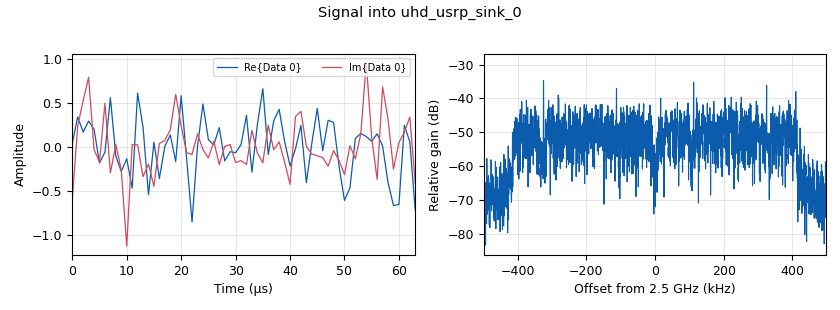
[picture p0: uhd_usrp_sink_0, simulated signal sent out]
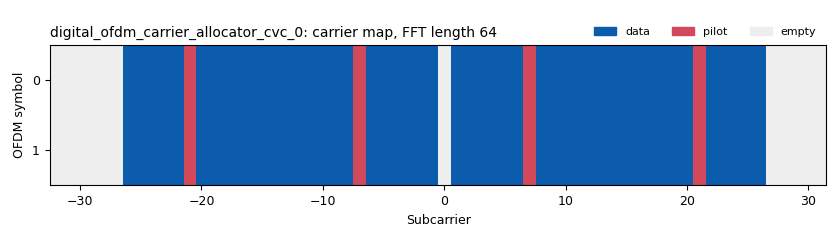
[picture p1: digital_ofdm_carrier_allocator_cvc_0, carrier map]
options:
  parameters:
    author: Cyrille Morin
    generate_options: no_gui
    id: ofdm_tx_example
    output_language: python
    run_options: run
    title: Example OFDM TX
  states: {}

blocks:
- name: byte_amount
  id: variable
  parameters:
    value: frame_amount * len(occupied_carriers[0]) // (8//bps)
  states: {}
- name: byte_sequence
  id: variable
  parameters:
    value: '[np.random.randint(256) for x in range(byte_amount)] if np.random.seed(0) is None else 0'
  states: {}
- name: cp_len
  id: variable
  parameters:
    value: fft_len//4
  states: {}
- name: frame_amount
  id: variable
  parameters:
    value: '20'
  states: {}
- name: header_formatter
  id: variable
  parameters:
    value: digital.packet_header_ofdm(occupied_carriers, n_syms=1, len_tag_key=length_tag_key, frame_len_tag_key=length_tag_key, bits_per_header_sym=header_mod.bits_per_symbol(), bits_per_payload_sym=payload_mod.bits_per_symbol(), scramble_header=True)
  states: {}
- name: header_mod
  id: variable
  parameters:
    value: digital.constellation_qpsk()
  states: {}
- name: length_tag_key
  id: variable
  parameters:
    value: '"frame_len"'
  states: {}
- name: occupied_carriers
  id: variable
  parameters:
    value: (list(range(-26, -21)) + list(range(-20, -7)) + list(range(-6, 0)) + list(range(1, 7)) + list(range(8, 21)) + list(range(22, 27)),)
  states: {}
- name: payload_mod
  id: variable
  parameters:
    value: digital.qam_constellation(constellation_points=2**bps,differential=False,mod_code=digital.utils.mod_codes.GRAY_CODE) if (bps in [2,4,8]) else digital.constellation_bpsk()
  states: {}
- name: pilot_carriers
  id: variable
  parameters:
    value: ((-21, -7, 7, 21,),)
  states: {}
- name: pilot_symbols
  id: variable
  parameters:
    value: ((1, 1, 1, -1,),)
  states: {}
- name: rolloff
  id: variable
  parameters:
    value: '0'
  states: {}
- name: sync_word1
  id: variable
  parameters:
    value: '[0., 0., 0., 0., 0., 0., 0., 1.41421356, 0., -1.41421356, 0., 1.41421356, 0., -1.41421356, 0., -1.41421356, 0., -1.41421356, 0., 1.41421356, 0., -1.41421356, 0., 1.41421356, 0., -1.41421356, 0., -1.41421356, 0., -1.41421356, 0., -1.41421356, 0., 1.41421356, 0., -1.41421356, 0., 1.41421356, 0., 1.41421356, 0., 1.41421356, 0., -1.41421356, 0., 1.41421356, 0., 1.41421356, 0., 1.41421356, 0., -1.41421356, 0., 1.41421356, 0., 1.41421356, 0., 1.41421356, 0., 0., 0., 0., 0., 0.]'
  states: {}
- name: sync_word2
  id: variable
  parameters:
    value: '[0, 0, 0, 0, 0, 0, -1, -1, -1, -1, 1, 1, -1, -1, -1, 1, -1, 1, 1, 1, 1, 1, -1, -1, -1, -1, -1, 1, -1, -1, 1, -1, 0, 1, -1, 1, 1, 1, -1, 1, 1, 1, -1, 1, 1, 1, 1, -1, 1, -1, -1, -1, 1, -1, 1, -1, -1, -1, -1, 0, 0, 0, 0, 0] '
  states: {}
- name: analog_rail_ff_0
  id: analog_rail_ff
  parameters:
    hi: '1'
    lo: '-1'
  states: {state: disabled}
- name: analog_rail_ff_0_0
  id: analog_rail_ff
  parameters:
    hi: '1'
    lo: '-1'
  states: {state: disabled}
- name: blocks_complex_to_float_0
  id: blocks_complex_to_float
  parameters: {}
  states: {state: disabled}
- name: blocks_complex_to_mag_squared_0
  id: blocks_complex_to_mag_squared
  parameters: {}
  states: {state: disabled}
- name: blocks_float_to_complex_0
  id: blocks_float_to_complex
  parameters: {}
  states: {state: disabled}
- name: blocks_message_strobe_0
  id: blocks_message_strobe
  parameters:
    msg: pmt.cons(pmt.make_dict(), pmt.to_pmt(np.array(byte_sequence, dtype=np.uint8)))
    period: int(1000*packet_freq)
  states: {}
- name: blocks_multiply_const_vxx_0
  id: blocks_multiply_const_vxx
  parameters:
    const: '0.06'
    type: complex
  states: {}
- name: blocks_null_source_0
  id: blocks_null_source
  parameters:
    type: complex
  states: {}
- name: blocks_repack_bits_bb_0
  id: blocks_repack_bits_bb
  parameters:
    endianness: gr.GR_LSB_FIRST
    k: '8'
    l: payload_mod.bits_per_symbol()
    len_tag_key: length_tag_key
  states: {}
- name: blocks_stream_to_tagged_stream_0
  id: blocks_stream_to_tagged_stream
  parameters:
    len_tag_key: length_tag_key
    packet_len: fft_len
    type: complex
  states: {}
- name: blocks_sub_xx_0
  id: blocks_sub_xx
  parameters:
    type: complex
  states: {state: disabled}
- name: blocks_tag_debug_0
  id: blocks_tag_debug
  parameters:
    type: complex
  states: {state: disabled}
- name: blocks_tagged_stream_mux_0
  id: blocks_tagged_stream_mux
  parameters:
    lengthtagname: length_tag_key
    ninputs: '2'
    type: complex
  states: {}
- name: blocks_tagged_stream_mux_1
  id: blocks_tagged_stream_mux
  parameters:
    lengthtagname: length_tag_key
    ninputs: '2'
    type: complex
  states: {}
- name: bps
  id: parameter
  parameters:
    label: Bits per Symbol
    short_id: b
    type: intx
    value: '4'
  states: {}
- name: digital_chunks_to_symbols_xx_0
  id: digital_chunks_to_symbols_xx
  parameters:
    dimension: '1'
    in_type: byte
    out_type: complex
    symbol_table: np.array(header_mod.points())/np.mean(np.abs(np.array(header_mod.points())))
  states: {}
- name: digital_chunks_to_symbols_xx_0_0
  id: digital_chunks_to_symbols_xx
  parameters:
    dimension: '1'
    in_type: byte
    out_type: complex
    symbol_table: np.array(payload_mod.points())/np.mean(np.abs(np.array(payload_mod.points())))
  states: {}
- name: digital_ofdm_carrier_allocator_cvc_0
  id: digital_ofdm_carrier_allocator_cvc
  parameters:
    fft_len: fft_len
    len_tag_key: length_tag_key
    occupied_carriers: occupied_carriers
    output_is_shifted: 'True'
    pilot_carriers: pilot_carriers
    pilot_symbols: pilot_symbols
    sync_words: (sync_word1, sync_word2)
  states: {}
- name: digital_ofdm_cyclic_prefixer_0
  id: digital_ofdm_cyclic_prefixer
  parameters:
    cp_len: cp_len
    input_size: fft_len
    rolloff: rolloff
    tagname: length_tag_key
  states: {}
- name: digital_packet_headergenerator_bb_0
  id: digital_packet_headergenerator_bb
  parameters:
    header_formatter: header_formatter.base()
    len_tag_key: length_tag_key
  states: {}
- name: fft_len
  id: parameter
  parameters:
    label: FFT Length
    short_id: l
    type: intx
    value: '64'
  states: {}
- name: fft_vxx_0
  id: fft_vxx
  parameters:
    fft_size: fft_len
    forward: 'False'
    shift: 'True'
    type: complex
    window: ()
  states: {}
- name: freq
  id: parameter
  parameters:
    label: Center frequency
    short_id: f
    type: eng_float
    value: '2500000000'
  states: {}
- name: gain
  id: parameter
  parameters:
    label: RX Gain
    short_id: g
    type: eng_float
    value: '20'
  states: {}
- name: header_bits
  id: virtual_sink
  parameters:
    stream_id: Header Bits
  states: {}
- name: import_0
  id: import
  parameters:
    imports: import numpy as np
  states: {}
- name: packet_freq
  id: parameter
  parameters:
    label: Packet Wait Time
    short_id: t
    type: eng_float
    value: '0.5'
  states: {}
- name: pdu_pdu_to_tagged_stream_0
  id: pdu_pdu_to_tagged_stream
  parameters:
    tag: length_tag_key
    type: byte
  states: {}
- name: qtgui_time_sink_x_0
  id: qtgui_time_sink_x
  parameters:
    nconnections: '2'
    size: '1024'
    srate: samp_rate
    type: complex
  states: {state: disabled}
- name: qtgui_time_sink_x_0_0
  id: qtgui_time_sink_x
  parameters:
    size: '1024'
    srate: samp_rate
    type: complex
  states: {state: disabled}
- name: qtgui_time_sink_x_0_0_0
  id: qtgui_time_sink_x
  parameters:
    size: '1024'
    srate: samp_rate
    type: float
  states: {state: disabled}
- name: qtgui_time_sink_x_1
  id: qtgui_time_sink_x
  parameters:
    size: '1024'
    srate: samp_rate
    tr_mode: qtgui.TRIG_MODE_TAG
    tr_tag: length_tag_key
    type: complex
  states: {state: disabled}
- name: samp_rate
  id: parameter
  parameters:
    label: Sample rate
    short_id: r
    type: intx
    value: '1000000'
  states: {}
- name: uhd_usrp_sink_0
  id: uhd_usrp_sink
  parameters:
    ant0: '"TX/RX"'
    center_freq0: freq
    gain0: gain
    len_tag_name: length_tag_key
    samp_rate: samp_rate
    sync: sync
    type: fc32
  states: {}
- name: virtual_sink_0
  id: virtual_sink
  parameters:
    stream_id: Time Domain
  states: {}
- name: virtual_sink_0_0
  id: virtual_sink
  parameters:
    stream_id: Payload Bits
  states: {}
- name: virtual_sink_0_0_0
  id: virtual_sink
  parameters:
    stream_id: Pre-OFDM
  states: {}
- name: virtual_source_0
  id: virtual_source
  parameters:
    stream_id: Header Bits
  states: {}
- name: virtual_source_0_0
  id: virtual_source
  parameters:
    stream_id: Payload Bits
  states: {}
- name: virtual_source_0_0_0
  id: virtual_source
  parameters:
    stream_id: Pre-OFDM
  states: {}
- name: virtual_source_0_0_0_0
  id: virtual_source
  parameters:
    stream_id: Time Domain
  states: {}

connections:
- [analog_rail_ff_0, '0', blocks_float_to_complex_0, '0']
- [analog_rail_ff_0_0, '0', blocks_float_to_complex_0, '1']
- [blocks_complex_to_float_0, '0', analog_rail_ff_0, '0']
- [blocks_complex_to_float_0, '1', analog_rail_ff_0_0, '0']
- [blocks_complex_to_mag_squared_0, '0', qtgui_time_sink_x_0_0_0, '0']
- [blocks_float_to_complex_0, '0', blocks_sub_xx_0, '0']
- [blocks_message_strobe_0, strobe, pdu_pdu_to_tagged_stream_0, pdus]
- [blocks_multiply_const_vxx_0, '0', blocks_complex_to_float_0, '0']
- [blocks_multiply_const_vxx_0, '0', blocks_sub_xx_0, '1']
- [blocks_multiply_const_vxx_0, '0', blocks_tagged_stream_mux_1, '1']
- [blocks_multiply_const_vxx_0, '0', qtgui_time_sink_x_0, '1']
- [blocks_null_source_0, '0', blocks_stream_to_tagged_stream_0, '0']
- [blocks_repack_bits_bb_0, '0', virtual_sink_0_0, '0']
- [blocks_stream_to_tagged_stream_0, '0', blocks_tagged_stream_mux_1, '0']
- [blocks_sub_xx_0, '0', qtgui_time_sink_x_0, '0']
- [blocks_tagged_stream_mux_0, '0', blocks_complex_to_mag_squared_0, '0']
- [blocks_tagged_stream_mux_0, '0', qtgui_time_sink_x_0_0, '0']
- [blocks_tagged_stream_mux_0, '0', virtual_sink_0_0_0, '0']
- [blocks_tagged_stream_mux_1, '0', blocks_tag_debug_0, '0']
- [blocks_tagged_stream_mux_1, '0', qtgui_time_sink_x_1, '0']
- [blocks_tagged_stream_mux_1, '0', uhd_usrp_sink_0, '0']
- [digital_chunks_to_symbols_xx_0, '0', blocks_tagged_stream_mux_0, '0']
- [digital_chunks_to_symbols_xx_0_0, '0', blocks_tagged_stream_mux_0, '1']
- [digital_ofdm_carrier_allocator_cvc_0, '0', fft_vxx_0, '0']
- [digital_ofdm_cyclic_prefixer_0, '0', virtual_sink_0, '0']
- [digital_packet_headergenerator_bb_0, '0', header_bits, '0']
- [fft_vxx_0, '0', digital_ofdm_cyclic_prefixer_0, '0']
- [pdu_pdu_to_tagged_stream_0, '0', blocks_repack_bits_bb_0, '0']
- [pdu_pdu_to_tagged_stream_0, '0', digital_packet_headergenerator_bb_0, '0']
- [virtual_source_0, '0', digital_chunks_to_symbols_xx_0, '0']
- [virtual_source_0_0, '0', digital_chunks_to_symbols_xx_0_0, '0']
- [virtual_source_0_0_0, '0', digital_ofdm_carrier_allocator_cvc_0, '0']
- [virtual_source_0_0_0_0, '0', blocks_multiply_const_vxx_0, '0']

metadata:
  file_format: 1
  grc_version: 3.10.6.0
